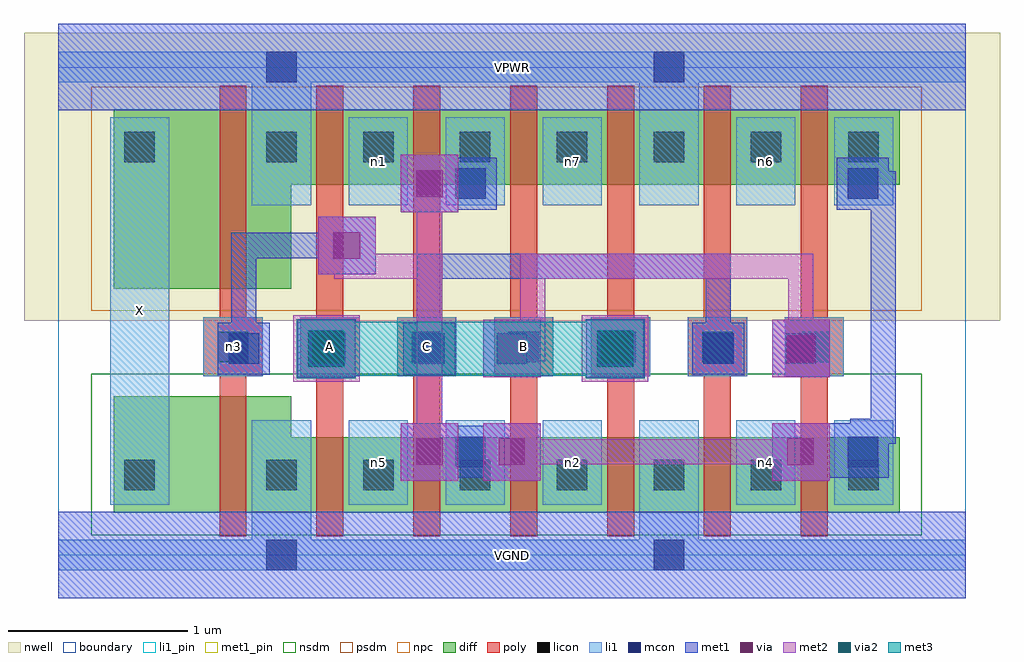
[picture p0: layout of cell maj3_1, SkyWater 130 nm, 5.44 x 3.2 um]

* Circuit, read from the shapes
.subckt maj3_1 A B C VGND VPWR X n1 n2 n3 n4 n5 n6 n7
XM1 VGND n3 X VSUBS sky130_fd_pr__nfet_01v8 w=0.65 l=0.15
XM2 n5 A VGND VSUBS sky130_fd_pr__nfet_01v8 w=0.42 l=0.15
XM3 n3 C n5 VSUBS sky130_fd_pr__nfet_01v8 w=0.42 l=0.15
XM4 n2 B n3 VSUBS sky130_fd_pr__nfet_01v8 w=0.42 l=0.15
XM5 VGND A n2 VSUBS sky130_fd_pr__nfet_01v8 w=0.42 l=0.15
XM6 n4 C VGND VSUBS sky130_fd_pr__nfet_01v8 w=0.42 l=0.15
XM7 n3 B n4 VSUBS sky130_fd_pr__nfet_01v8 w=0.42 l=0.15
XM8 VPWR n3 X n8 sky130_fd_pr__pfet_01v8 w=1 l=0.15
XM9 n1 A VPWR n8 sky130_fd_pr__pfet_01v8 w=0.42 l=0.15
XM10 n3 C n1 n8 sky130_fd_pr__pfet_01v8 w=0.42 l=0.15
XM11 n7 B n3 n8 sky130_fd_pr__pfet_01v8 w=0.42 l=0.15
XM12 VPWR A n7 n8 sky130_fd_pr__pfet_01v8 w=0.42 l=0.15
XM13 n6 C VPWR n8 sky130_fd_pr__pfet_01v8 w=0.42 l=0.15
XM14 n3 B n6 n8 sky130_fd_pr__pfet_01v8 w=0.42 l=0.15
.ends

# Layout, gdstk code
import gdstk
lib = gdstk.Library(unit=1e-6, precision=1e-09)
def R(c, l, rs):  # rectangles x0, y0, x1, y1
    for r in rs: c.add(gdstk.rectangle(r[:2], r[2:], *l))
def A(c, l, x, y, w, h, nx, ny, dx, dy):  # array of equal rectangles
    R(c, l, [(x+i*dx, y+j*dy, x+i*dx+w, y+j*dy+h) for i in range(nx) for j in range(ny)])
nwell = (64, 20)
diff = (65, 20)
poly = (66, 20)
licon = (66, 44)
li1_pin = (67, 16)
li1 = (67, 20)
mcon = (67, 44)
met1_pin = (68, 16)
met1 = (68, 20)
via = (68, 44)
met2 = (69, 20)
via2 = (69, 44)
met3 = (70, 20)
nsdm = (93, 44)
psdm = (94, 20)
npc = (95, 20)
boundary = (235, 4)

maj3_1 = lib.new_cell('maj3_1')
R(maj3_1, nwell, [(-0.19,1.305,5.25,2.91), (0,1.305,5.06,2.91)])
R(maj3_1, diff, [(0.31,0.235,1.3,0.885), (1.05,0.235,4.69,0.655), (0.31,1.485,1.3,2.485), (1.05,2.065,4.69,2.485)])
A(maj3_1, poly, 0.9, 0.105, 0.15, 2.51, 7, 1, 0.54, 0)
A(maj3_1, poly, 0.81, 0.995, 0.33, 0.33, 7, 1, 0.54, 0)
A(maj3_1, licon, 1.16, 0.36, 0.17, 0.17, 6, 2, 0.54, 1.83)
A(maj3_1, licon, 0.89, 1.075, 0.17, 0.17, 7, 1, 0.54, 0)
R(maj3_1, licon, [(0.37,0.36,0.54,0.53), (4.405,0.36,4.575,0.53), (0.37,2.19,0.54,2.36), (4.405,2.19,4.575,2.36)])
A(maj3_1, li1_pin, 1.35, 0.995, 0.33, 0.33, 3, 1, 0.54, 0)
R(maj3_1, li1_pin, [(0.29,0.28,0.62,2.44)])
A(maj3_1, li1, 1.62, 0.28, 0.33, 0.47, 3, 1, 0.54, 0)
A(maj3_1, li1, 0.81, 0.995, 0.33, 0.33, 7, 1, 0.54, 0)
A(maj3_1, li1, 1.62, 1.95, 0.33, 0.49, 3, 1, 0.54, 0)
R(maj3_1, li1, [(0,-0.085,5.06,0.085), (1.08,-0.085,1.41,0.75), (3.24,-0.085,3.57,0.75), (0.29,0.28,0.62,2.44), (3.78,0.28,4.11,0.75), (4.325,0.28,4.655,0.75), (1.08,1.95,1.41,2.805), (3.24,1.95,3.57,2.805), (3.78,1.95,4.11,2.44), (4.325,1.95,4.655,2.44), (0,2.635,5.06,2.805)])
A(maj3_1, mcon, 2.445, 1.065, 0.17, 0.17, 3, 1, 0.575, 0)
R(maj3_1, mcon, [(1.16,-0.085,1.33,0.085), (3.32,-0.085,3.49,0.085), (2.215,0.49,2.385,0.66), (4.4,0.49,4.57,0.66), (0.95,1.065,1.12,1.235), (1.41,1.065,1.58,1.235), (1.985,1.065,2.155,1.235), (4.055,1.065,4.225,1.235), (2.215,1.985,2.385,2.155), (4.4,1.985,4.57,2.155), (1.16,2.635,1.33,2.805), (3.32,2.635,3.49,2.805)])
R(maj3_1, met1_pin, [(0,-0.24,5.06,0.24), (0,2.48,5.06,2.96)])
A(maj3_1, met1, 2.385, 1.005, 0.29, 0.29, 3, 1, 0.575, 0)
R(maj3_1, met1, [(0,-0.24,5.06,0.24), (1.91,0.415,2.23,0.735), (2.37,0.415,2.69,0.735), (3.98,0.415,4.3,0.735), (2.155,0.43,2.445,0.72), (4.3,0.43,4.34,0.72), (4.34,0.43,4.63,0.72), (2,0.505,2.37,0.645), (2.23,0.505,2.6,0.645), (4.07,0.505,4.555,0.645), (4.3,0.505,4.415,0.735), (4.415,0.505,4.555,0.76), (4.3,0.62,4.415,0.735), (4.415,0.62,4.67,0.76), (4.53,0.62,4.67,2.14), (1.335,0.99,1.655,1.31), (2.37,0.99,2.69,1.31), (2.945,0.99,3.265,1.31), (3.98,0.99,4.3,1.31), (0.89,1.005,1.18,1.295), (1.35,1.005,1.64,1.295), (1.925,1.005,2.215,1.295), (3.995,1.005,4.285,1.295), (0.965,1.08,1.105,1.795), (2,1.08,2.14,1.68), (3.61,1.08,3.75,1.68), (2,1.54,3.75,1.68), (1.45,1.565,1.77,1.885), (0.965,1.655,1.68,1.795), (1.91,1.91,2.23,2.23), (2.155,1.925,2.445,2.215), (4.34,1.925,4.63,2.215), (2,2,2.37,2.14), (4.415,2,4.67,2.14), (0,2.48,5.06,2.96)])
R(maj3_1, via, [(1.995,0.5,2.145,0.65), (2.455,0.5,2.605,0.65), (4.065,0.5,4.215,0.65), (1.42,1.075,1.57,1.225), (2.455,1.075,2.605,1.225), (3.03,1.075,3.18,1.225), (4.065,1.075,4.215,1.225), (1.535,1.65,1.685,1.8), (1.995,1.995,2.145,2.145)])
R(maj3_1, met2, [(1.91,0.415,2.23,0.735), (2.37,0.415,2.69,0.735), (3.98,0.415,4.3,0.735), (2,0.505,2.14,2.14), (2.46,0.505,4.21,0.645), (1.31,0.965,1.68,1.335), (2.92,0.965,3.29,1.335), (1.335,0.99,1.655,1.31), (2.37,0.99,2.69,1.31), (2.945,0.99,3.265,1.31), (3.98,0.99,4.3,1.31), (2.46,1.08,2.715,1.22), (2.575,1.08,2.715,1.68), (4.07,1.08,4.21,1.68), (1.54,1.54,2.14,1.68), (1.54,1.54,1.68,1.795), (2.575,1.54,4.21,1.68), (1.45,1.565,1.77,1.885), (1.91,1.91,2.23,2.23)])
R(maj3_1, via2, [(1.395,1.05,1.595,1.25), (3.005,1.05,3.205,1.25)])
R(maj3_1, met3, [(1.33,0.985,1.66,1.315), (2.94,0.985,3.27,1.315), (1.345,1,3.255,1.3)])
R(maj3_1, nsdm, [(0.185,0.11,4.815,1.01)])
R(maj3_1, psdm, [(0.185,1.36,4.815,2.61)])
A(maj3_1, npc, 0.81, 0.995, 0.33, 0.33, 7, 1, 0.54, 0)
R(maj3_1, boundary, [(0,0,5.06,2.72)])
maj3_1.add(gdstk.Label('A', (1.515,1.16), layer=67, texttype=5))
maj3_1.add(gdstk.Label('B', (2.595,1.16), layer=67, texttype=5))
maj3_1.add(gdstk.Label('C', (2.055,1.16), layer=67, texttype=5))
maj3_1.add(gdstk.Label('X', (0.455,1.36), layer=67, texttype=5))
maj3_1.add(gdstk.Label('n3', (0.975,1.16), layer=67, texttype=5))
maj3_1.add(gdstk.Label('n5', (1.785,0.515), layer=67, texttype=5))
maj3_1.add(gdstk.Label('n2', (2.865,0.515), layer=67, texttype=5))
maj3_1.add(gdstk.Label('n4', (3.945,0.515), layer=67, texttype=5))
maj3_1.add(gdstk.Label('n1', (1.785,2.195), layer=67, texttype=5))
maj3_1.add(gdstk.Label('n7', (2.865,2.195), layer=67, texttype=5))
maj3_1.add(gdstk.Label('n6', (3.945,2.195), layer=67, texttype=5))
maj3_1.add(gdstk.Label('VPWR', (2.53,2.72), layer=68, texttype=5))
maj3_1.add(gdstk.Label('VGND', (2.53,0), layer=68, texttype=5))
maj3_1.add(gdstk.Label('A', (1.515,1.16), layer=67, texttype=16))
maj3_1.add(gdstk.Label('B', (2.595,1.16), layer=67, texttype=16))
maj3_1.add(gdstk.Label('C', (2.055,1.16), layer=67, texttype=16))
maj3_1.add(gdstk.Label('X', (0.455,1.36), layer=67, texttype=16))
maj3_1.add(gdstk.Label('VPWR', (2.53,2.72), layer=68, texttype=16))
maj3_1.add(gdstk.Label('VGND', (2.53,0), layer=68, texttype=16))

lib.write_gds('maj3_1.gds')
